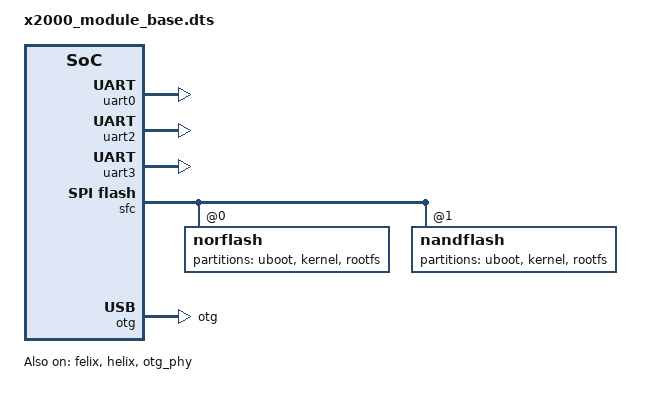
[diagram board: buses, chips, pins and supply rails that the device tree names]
/dts-v1/;

#include <dt-bindings/input/input.h>
#include "x2000.dtsi"
#include <dt-bindings/interrupt-controller/irq.h>
#include <generated/autoconf.h>

/ {
	compatible = "ingenic,x2000";

	/*chosen {
		bootargs = "console=ttyS1,115200 mem=128M@0x0ip=off init=/linuxrc ubi.mtd=3 root=ubi0:rootfs ubi.mtd=4 rootfstype=ubifs rw";
	};*/

	reserved-memory {
		#address-cells = <1>;
		#size-cells = <1>;
		ranges =<>;

		reserved_memory: reserved_mem@0x6000000{
		      compatible = "shared-dma-pool";
		      reg = <0x06000000 0x2000000>;
		};
	};
};

&uart0 {
	status = "okay";
	pinctrl-names = "default";
	pinctrl-0 = <&uart0_pd>;
};

&uart2 {
	status = "okay";
	pinctrl-names = "default";
	pinctrl-0 = <&uart2_pd>;
};

&uart3 {
	status = "okay";
	pinctrl-names = "default";
	pinctrl-0 = <&uart3_pc>;
};

&cpufreq {
	status = "okay";
	operating-points = <
		/*KHZ uV */
		1200000	900000
		750000	900000
		600000	900000
		500000	900000
		400000	900000
		375000	900000
		300000	900000
		200000	900000
			>;

};

&pinctrl {
	ingenic,gpa_voltage = <GPIO_VOLTAGE_1V8>;
};

&felix {
	status = "okay";
	memory-region=<&reserved_memory>;
};

&helix {
	status = "okay";
	memory-region=<&reserved_memory>;
};

&pdma {
	status = "okay";
};

&sfc {
	status = "okay";
	pinctrl-names = "default";
	pinctrl-0 = <&sfc_pe>;
	ingenic,sfc-init-frequency = <200000000>;
	ingenic,sfc-max-frequency = <400000000>;
	ingenic,use_ofpart_info  = /bits/ 8 <0>;
	ingenic,spiflash_param_offset = <0>;

	norflash@0 {
		partitions {
			compatible = "fixed-partitions";
			#address-cells = <1>;
			#size-cells = <1>;

			/* spi nor flash partition */
			uboot@0 {
				label = "uboot";
				reg = <0x0000000 0x40000>;
				/*read-only;*/
			};

			kernel@40000 {
				label = "kernel";
				reg = <0x40000 0x300000>;
			};

			rootfs@360000 {
				label = "rootfs";
				reg = <0x360000 0xca0000>;
			};
		};
	};

	nandflash@1 {
		partitions {
			compatible = "fixed-partitions";
			#address-cells = <1>;
			#size-cells = <1>;

			/* spi nand flash partition */
			partition@0 {
				label = "uboot";
				reg = <0x0000000 0x100000>;
				/*read-only;*/
			};

			partition@100000 {
				label = "kernel";
				reg = <0x100000 0x800000>;
			};

			partition@900000 {
				label = "rootfs";
				reg = <0x900000 0xf700000>;
			};
		};
	};

};

&otg {
	g-use-dma;
	dr_mode = "otg";
	status = "okay";
};

&otg_phy {
	/*ingenic,id-dete-gpio = <&gpb 29 GPIO_ACTIVE_LOW INGENIC_GPIO_NOBIAS>;*/
	/*ingenic,vbus-dete-gpio = <&gpd 17 GPIO_ACTIVE_LOW INGENIC_GPIO_NOBIAS>;*/
	/*ingenic,drvvbus-gpio = <&gpe 22 GPIO_ACTIVE_HIGH INGENIC_GPIO_NOBIAS>;*/
	status = "okay";
};

/ {

	extclk: extclk {
		clock-frequency = <24000000>;
	};

};


/* Board Sleep GPIO configuration. */
/* <0 1 2 3 .... 31>, set one of the pin to state.*/
&gpa {
	ingenic,gpio-sleep-pullup 	= <>;
	ingenic,gpio-sleep-pulldown 	= <>;
	ingenic,gpio-sleep-hiz		= <>;
	ingenic,gpio-sleep-low		= <>;
	ingenic,gpio-sleep-high		= <>;
};

&gpb {
	ingenic,gpio-sleep-pullup 	= <>;
	ingenic,gpio-sleep-pulldown 	= <>;
	ingenic,gpio-sleep-hiz		= <>;
	ingenic,gpio-sleep-low		= <>;
	ingenic,gpio-sleep-high		= <>;
};

&gpc {
	ingenic,gpio-sleep-pullup 	= <>;
	ingenic,gpio-sleep-pulldown 	= <>;
	ingenic,gpio-sleep-hiz		= <>;
	ingenic,gpio-sleep-low		= <>;
	ingenic,gpio-sleep-high		= <>;
};

&gpd {
	ingenic,gpio-sleep-pullup 	= <>;
	ingenic,gpio-sleep-pulldown 	= <>;
	ingenic,gpio-sleep-hiz		= <>;
	ingenic,gpio-sleep-low		= <>;
	ingenic,gpio-sleep-high		= <>;
};
